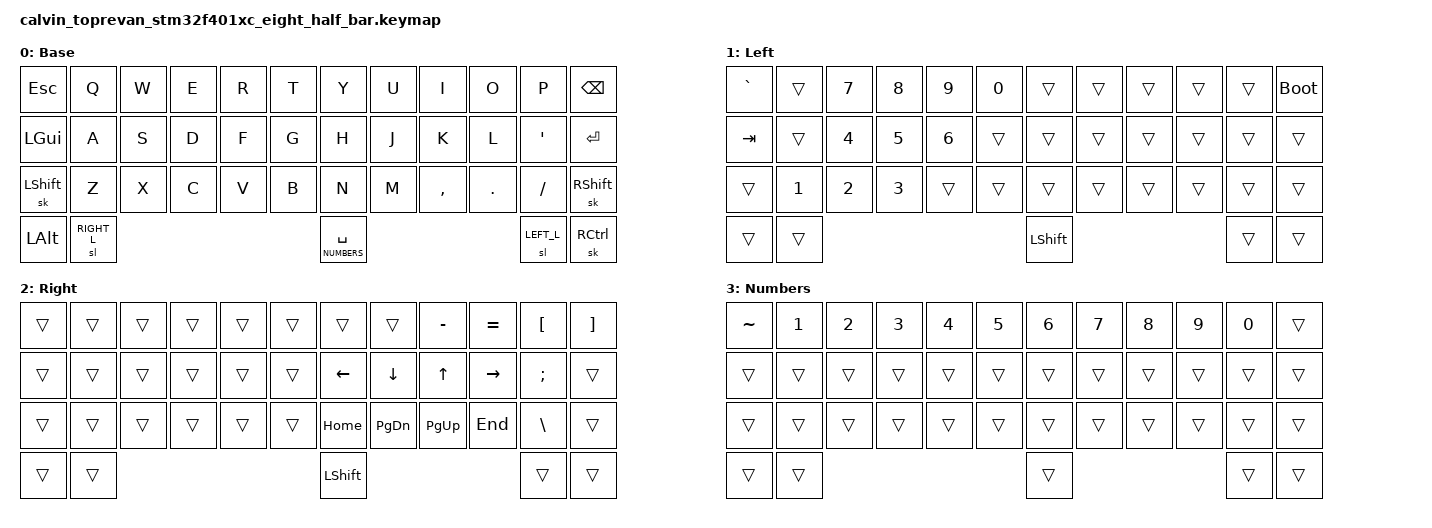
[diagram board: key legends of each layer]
/*
 * Copyright (c) 2024 The ZMK Contributors
 *
 * SPDX-License-Identifier: MIT
 */

#include <behaviors.dtsi>
#include <dt-bindings/zmk/keys.h>

#define LEFT_L 1
#define RIGHT_L 2
#define NUMBERS 3

&sk {
    quick-release;
};

&lt {
    tapping-term-ms = <9999>;
    flavor = "balanced";
    quick-tap-ms = <250>;
};

/ {
    keymap {
        compatible = "zmk,keymap";

        base_layer {
            display-name = "Base";
            bindings = <
&kp ESC     &kp Q        &kp W    &kp E       &kp R          &kp T        &kp Y            &kp U          &kp I       &kp O      &kp P         &kp BACKSPACE
&kp LGUI    &kp A        &kp S    &kp D       &kp F          &kp G        &kp H            &kp J          &kp K       &kp L      &kp QUOT      &kp RET
&sk LSHFT   &kp Z        &kp X    &kp C       &kp V          &kp B        &kp N            &kp M          &kp COMMA   &kp DOT    &kp FSLH      &sk RSHFT
&kp LALT    &sl RIGHT_L                                                   &lt NUMBERS SPACE                                      &sl LEFT_L    &sk RCTL
            >;
        };

        left_layer {
            display-name = "Left";
            bindings = <
&kp GRAVE   &trans       &kp N7    &kp N8      &kp N9         &kp N0       &trans           &trans         &trans      &trans     &trans        &bootloader
&kp TAB     &trans       &kp N4    &kp N5      &kp N6         &trans       &trans           &trans         &trans      &trans     &trans        &trans
&trans      &kp N1       &kp N2    &kp N3      &trans         &trans       &trans           &trans         &trans      &trans     &trans        &trans
&trans      &trans                                                         &kp LSHFT                                                 &trans        &trans
            >;
        };

        right_layer {
            display-name = "Right";
            bindings = <
&trans      &trans       &trans   &trans      &trans         &trans       &trans           &trans         &kp MINUS   &kp EQUAL  &kp LBKT       &kp RBKT
&trans      &trans       &trans   &trans      &trans         &trans       &kp LEFT         &kp DOWN       &kp UP      &kp RIGHT  &kp SEMI       &trans
&trans      &trans       &trans   &trans      &trans         &trans       &kp HOME         &kp PG_DN      &kp PG_UP   &kp END    &kp BSLH       &trans
&trans      &trans                                                        &kp LSHFT                                                 &trans         &trans
            >;
        };

        numbers {
            display-name = "Numbers";
            bindings = <
&kp TILDE   &kp N1       &kp N2   &kp N3      &kp N4         &kp N5       &kp N6           &kp N7         &kp N8      &kp N9     &kp N0         &trans
&trans      &trans       &trans   &trans      &trans         &trans       &trans           &trans         &trans      &trans     &trans         &trans
&trans      &trans       &trans   &trans      &trans         &trans       &trans           &trans         &trans      &trans     &trans         &trans
&trans      &trans                                                        &trans                                                 &trans         &trans
            >;
        };
    };
};
